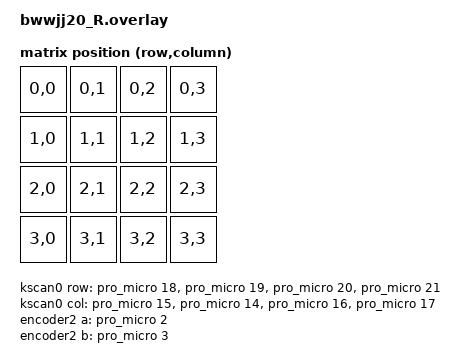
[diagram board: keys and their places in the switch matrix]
#include <dt-bindings/zmk/matrix_transform.h>

/ {
    chosen {
        zmk,kscan = &kscan0;
        zmk,matrix-transform = &default_transform;
    };

    default_transform: keymap_transform0 {
        compatible = "zmk,matrix-transform";
        columns = <4>; // 列数改为 4
        rows = <4>;    // 行数改为 4
        map = <
        //   Key 1 | Key 2 | Key 3 | Key 4
            RC(0,0) RC(0,1) RC(0,2) RC(0,3)
        //   Key 5 | Key 6 | Key 7 | Key 8
            RC(1,0) RC(1,1) RC(1,2) RC(1,3)
        //   Key 9 | Key 10 | Key 11 | Key 12
            RC(2,0) RC(2,1) RC(2,2) RC(2,3)
        //   Key 13 | Key 14 | Key 15 | Key 16
            RC(3,0) RC(3,1) RC(3,2) RC(3,3)
        >;
    };

    kscan0: kscan0 {
        compatible = "zmk,kscan-gpio-matrix";
        diode-direction = "col2row";
        wakeup-source;

        col-gpios
            = <&pro_micro 15 GPIO_ACTIVE_HIGH>
            , <&pro_micro 14 GPIO_ACTIVE_HIGH>
            , <&pro_micro 16 GPIO_ACTIVE_HIGH>
            , <&pro_micro 17 GPIO_ACTIVE_HIGH> // 新增第 4 列
            ;

        row-gpios
            = <&pro_micro 18 (GPIO_ACTIVE_HIGH | GPIO_PULL_DOWN)>
            , <&pro_micro 19 (GPIO_ACTIVE_HIGH | GPIO_PULL_DOWN)>
            , <&pro_micro 20 (GPIO_ACTIVE_HIGH | GPIO_PULL_DOWN)>
            , <&pro_micro 21 (GPIO_ACTIVE_HIGH | GPIO_PULL_DOWN)> // 新增第 4 行
            ;
    };

    // 第一个编码器
    encoder2: encoder2 {
        compatible = "alps,ec11";
        a-gpios = <&pro_micro 2 (GPIO_ACTIVE_HIGH | GPIO_PULL_UP)>;
        b-gpios = <&pro_micro 3 (GPIO_ACTIVE_HIGH | GPIO_PULL_UP)>;
        steps = <80>;
        status = "okay";
    };

    sensors: sensors {
        compatible = "zmk,keymap-sensors";
        sensors = <&encoder2>; 
        triggers-per-rotation = <20>;
    };
};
